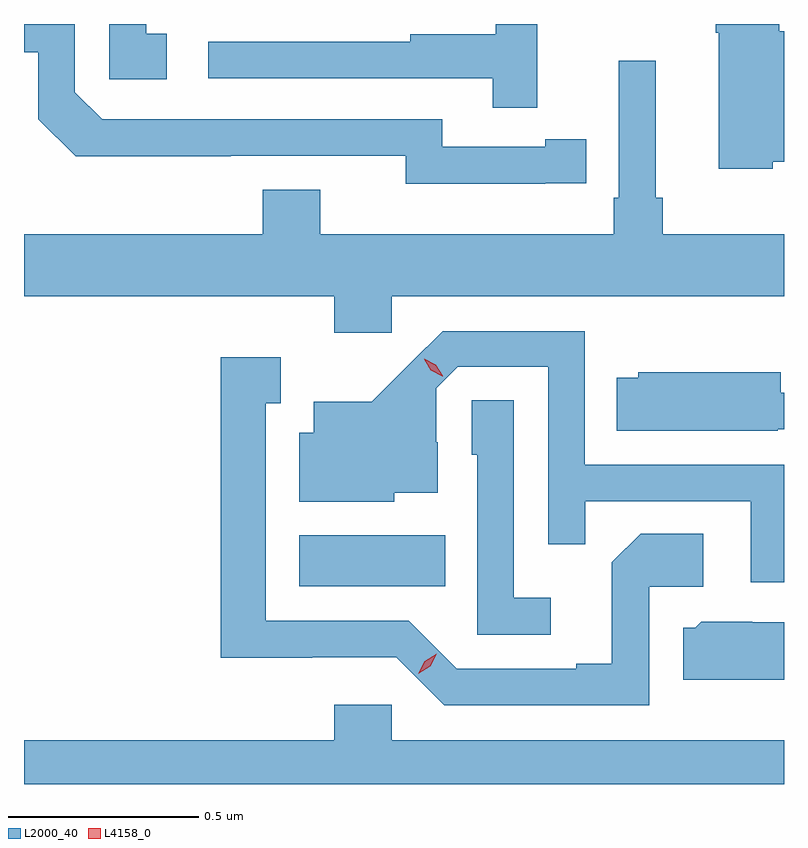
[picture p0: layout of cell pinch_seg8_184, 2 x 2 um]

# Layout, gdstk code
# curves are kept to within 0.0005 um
import gdstk
lib = gdstk.Library(unit=1e-6, precision=1e-09)
def R(c, l, rs):  # rectangles x0, y0, x1, y1
    for r in rs: c.add(gdstk.rectangle(r[:2], r[2:], *l))
def P(c, l, *ps):  # polygons
    for p in ps: c.add(gdstk.Polygon(p, *l))
L2000_40 = (2000, 40)
L4158_0 = (4158, 0)

pinch_seg8_184 = lib.new_cell('pinch_seg8_184')
R(pinch_seg8_184, L2000_40, [(685.268,1147.706,685.652,1147.84)])
P(pinch_seg8_184, L2000_40, [(686.514,1148.822),(686.544,1148.822),(686.544,1149.166),(686.531,1149.166),(686.531,1149.185),(686.365,1149.185),(686.365,1149.162),(686.372,1149.162),(686.372,1148.804),(686.514,1148.804)],
  [(685.895,1149.185),(685.785,1149.185),(685.785,1149.158),(685.561,1149.158),(685.561,1149.138),(685.029,1149.138),(685.029,1149.042),(685.777,1149.042),(685.777,1148.964),(685.895,1148.964)],
  [(684.919,1149.159),(684.866,1149.159),(684.866,1149.185),(684.768,1149.185),(684.768,1149.039),(684.919,1149.039)],
  [(685.916,1148.766),(686.024,1148.766),(686.024,1148.882),(685.916,1148.882),(685.916,1148.862),(685.644,1148.862),(685.644,1148.934),(684.75,1148.934),(684.678,1149.006),(684.678,1149.185),(684.544,1149.185),(684.544,1149.111),(684.582,1149.111),(684.582,1148.934),(684.68,1148.837),(685.088,1148.837),(685.088,1148.838),(685.548,1148.838),(685.548,1148.765),(685.916,1148.765)],
  [(685.512,1148.468),(686.544,1148.468),(686.544,1148.632),(686.225,1148.632),(686.225,1148.728),(686.206,1148.728),(686.206,1149.088),(686.109,1149.088),(686.109,1148.728),(686.096,1148.728),(686.096,1148.632),(685.324,1148.632),(685.324,1148.749),(685.172,1148.749),(685.172,1148.632),(684.544,1148.632),(684.544,1148.468),(685.361,1148.468),(685.361,1148.373),(685.512,1148.373)],
  [(686.544,1148.025),(686.019,1148.025),(686.019,1148.376),(685.646,1148.376),(685.459,1148.191),(685.307,1148.191),(685.307,1148.11),(685.268,1148.11),(685.268,1147.928),(685.518,1147.928),(685.518,1147.952),(685.633,1147.952),(685.633,1148.084),(685.629,1148.084),(685.629,1148.226),(685.686,1148.283),(685.923,1148.283),(685.923,1147.816),(686.021,1147.816),(686.021,1147.929),(686.457,1147.929),(686.457,1147.716),(686.544,1147.716)],
  [(686.19,1147.704),(686.332,1147.704),(686.332,1147.844),(686.167,1147.844),(686.091,1147.768),(686.091,1147.501),(685.997,1147.501),(685.997,1147.488),(685.683,1147.488),(685.557,1147.614),(685.18,1147.614),(685.18,1148.187),(685.219,1148.187),(685.219,1148.308),(685.062,1148.308),(685.062,1147.517),(685.302,1147.517),(685.302,1147.518),(685.524,1147.518),(685.65,1147.392),(686.19,1147.392)],
  [(686.528,1148.118),(686.544,1148.118),(686.544,1148.215),(686.536,1148.215),(686.536,1148.269),(686.16,1148.269),(686.16,1148.254),(686.104,1148.254),(686.104,1148.114),(686.528,1148.114)],
  [(685.93,1147.675),(685.833,1147.675),(685.833,1148.195),(685.722,1148.195),(685.722,1148.052),(685.737,1148.052),(685.737,1147.578),(685.93,1147.578)],
  [(686.544,1147.611),(686.46,1147.611),(686.46,1147.612),(686.326,1147.612),(686.31,1147.596),(686.279,1147.596),(686.279,1147.46),(686.544,1147.46)],
  [(686.544,1147.3),(685.512,1147.3),(685.512,1147.393),(685.361,1147.393),(685.361,1147.3),(684.544,1147.3),(684.544,1147.185),(686.544,1147.185)])
P(pinch_seg8_184, L4158_0, [(685.645,1148.258),(685.614,1148.274),(685.597,1148.303),(685.597,1148.304),(685.597,1148.304),(685.628,1148.288),(685.646,1148.259),(685.646,1148.258)],
  [(685.581,1147.475),(685.581,1147.475),(685.598,1147.508),(685.63,1147.528),(685.63,1147.528),(685.63,1147.528),(685.613,1147.495),(685.582,1147.475)])

lib.write_gds('pinch_seg8_184.gds')
